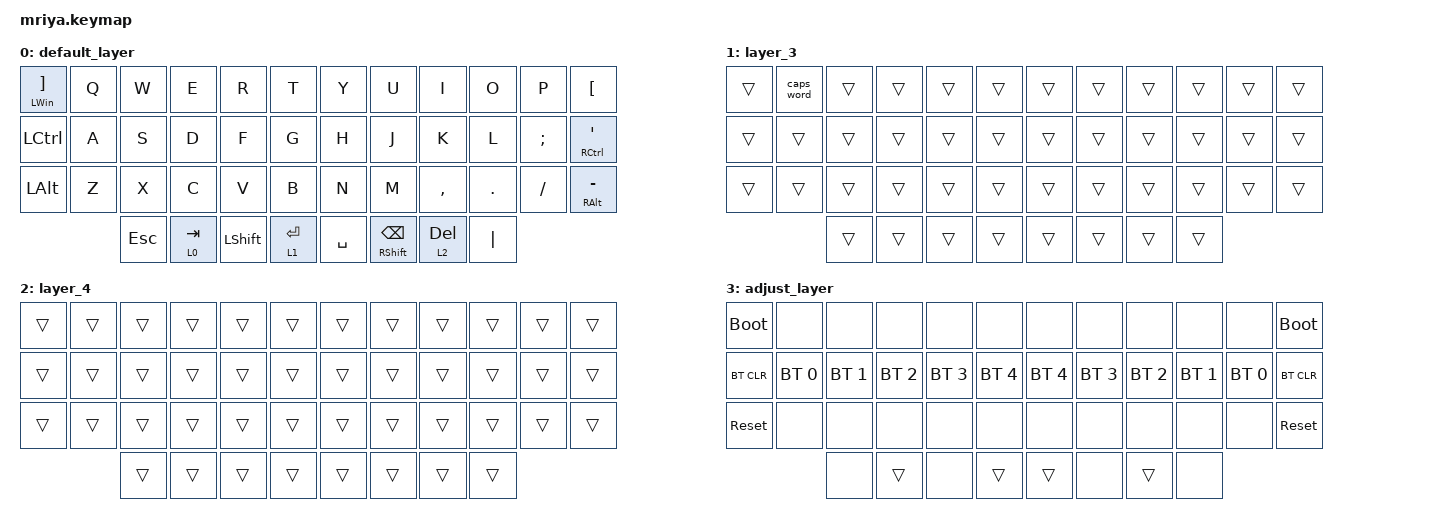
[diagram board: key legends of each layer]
/*
 * Copyright (c) 2023 Andrei Gaevskii
 *
 * SPDX-License-Identifier: MIT
 */

#include <behaviors.dtsi>
#include <dt-bindings/zmk/bt.h>
#include <dt-bindings/zmk/keys.h>

#define DEF 0
#define LWR 1
#define RSE 2
#define ADJ 3

&lt {
    quick_tap_ms = <200>;
};

&mt {
    quick_tap_ms = <200>;
};

/ {
    combos {
        compatible = "zmk,combos";
    };

    macros {
    };

    keymap {
        compatible = "zmk,keymap";

        default_layer {
            bindings = <
  &mt LEFT_WIN RIGHT_BRACKET  &kp Q  &kp W       &kp E      &kp R           &kp T        &kp Y      &kp U           &kp I      &kp O     &kp P     &kp LBKT
  &kp LCTRL                   &kp A  &kp S       &kp D      &kp F           &kp G        &kp H      &kp J           &kp K      &kp L     &kp SEMI  &mt RCTRL SQT
  &kp LALT                    &kp Z  &kp X       &kp C      &kp V           &kp B        &kp N      &kp M           &kp COMMA  &kp DOT   &kp FSLH  &mt RALT MINUS
                                     &kp ESCAPE  &lt 0 TAB  &kp LEFT_SHIFT  &lt 1 RET    &kp SPACE  &mt RSHFT BSPC  &lt 2 DEL  &kp PIPE
            >;
        };

        layer_3 {
            bindings = <
  &trans  &caps_word  &trans  &trans  &trans  &trans    &trans  &trans  &trans  &trans  &trans  &trans
  &trans  &trans      &trans  &trans  &trans  &trans    &trans  &trans  &trans  &trans  &trans  &trans
  &trans  &trans      &trans  &trans  &trans  &trans    &trans  &trans  &trans  &trans  &trans  &trans
                      &trans  &trans  &trans  &trans    &trans  &trans  &trans  &trans
            >;
        };

        layer_4 {
            bindings = <
  &trans  &trans  &trans  &trans  &trans  &trans    &trans  &trans  &trans  &trans  &trans  &trans
  &trans  &trans  &trans  &trans  &trans  &trans    &trans  &trans  &trans  &trans  &trans  &trans
  &trans  &trans  &trans  &trans  &trans  &trans    &trans  &trans  &trans  &trans  &trans  &trans
                  &trans  &trans  &trans  &trans    &trans  &trans  &trans  &trans
            >;
        };

        adjust_layer {
            bindings = <
  &bootloader  &none         &none         &none         &none         &none           &none         &none         &none         &none         &none         &bootloader
  &bt BT_CLR   &bt BT_SEL 0  &bt BT_SEL 1  &bt BT_SEL 2  &bt BT_SEL 3  &bt BT_SEL 4    &bt BT_SEL 4  &bt BT_SEL 3  &bt BT_SEL 2  &bt BT_SEL 1  &bt BT_SEL 0  &bt BT_CLR
  &sys_reset   &none         &none         &none         &none         &none           &none         &none         &none         &none         &none         &sys_reset
                             &none         &trans        &none         &trans          &trans        &none         &trans        &none
            >;
        };
    };
};
